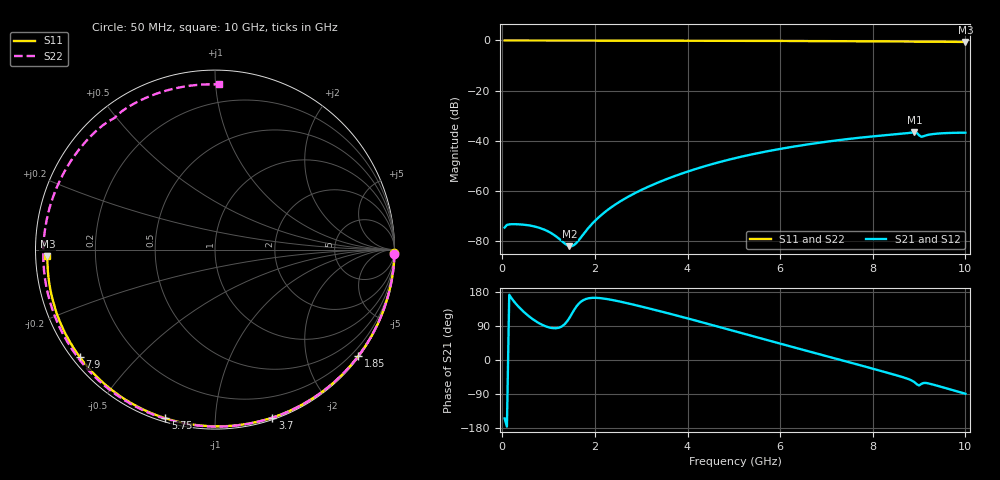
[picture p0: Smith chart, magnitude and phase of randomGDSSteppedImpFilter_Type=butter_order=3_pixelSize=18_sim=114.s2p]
! freq	dB(S11)	phase(S11)	dB(S12)	phase(S12)
!  dB(S21)	phase(S21)	dB(S22)	phase(S22)
!S-par simulation data
#  GHz  S  DB  R 50
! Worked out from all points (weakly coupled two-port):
!   200 points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, 50 MHz to 10 GHz, reference 50 ohm
!   highest |S21| = -36.62 dB at 8.9 GHz (marker M1); lowest = -82.0 dB at 1.45 GHz (marker M2)
!   lowest |S11| = -0.6 dB at 10 GHz (marker M3), VSWR 29.52, Z = 1.69 - j0.979 ohm
!   |S11| at or under -10 dB: nowhere
!   |S22| runs from -0.7 to 0.0 dB; largest |S21 - S12| = 0
!   S11 on the Smith chart (normalised r, x): 50 MHz: open; 1.85 GHz: 0.03, -3.02; 3.7 GHz: 0.02, -1.40; 5.75 GHz: 0.02, -0.75; 7.9 GHz: 0.02, -0.35; 10 GHz: 0.03, -0.02
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0.05  -0.00 -1.0  -74.58 -154.1  -74.58 -154.1  -0.00 -1.3
0.2  -0.00 -4.0  -73.24 162.8  -73.24 162.8  -0.00 -5.2
0.65  -0.01 -13.1  -73.96 108.4  -73.96 108.4  -0.02 -16.9
1  -0.02 -20.0  -76.21 86.3  -76.21 86.3  -0.03 -25.9
1.3  -0.03 -26.0  -80.18 89.7  -80.18 89.7  -0.04 -33.6
1.45  -0.04 -28.9  -81.99 111.2  -81.99 111.2  -0.05 -37.4
1.65  -0.04 -32.8  -79.62 148.5  -79.62 148.5  -0.05 -42.4
1.75  -0.04 -34.7  -77.23 158.0  -77.23 158.0  -0.06 -45.0
1.85  -0.05 -36.7  -74.93 162.5  -74.93 162.5  -0.06 -47.5
2.45  -0.06 -48.1  -65.27 156.5  -65.27 156.5  -0.08 -62.3
3.4  -0.09 -65.8  -56.35 128.9  -56.35 128.9  -0.11 -85.2
3.7  -0.10 -71.2  -54.21 119.5  -54.21 119.5  -0.13 -92.3
5.05  -0.15 -94.7  -46.81 74.9  -46.81 74.9  -0.19 -124.0
5.75  -0.18 -106.4  -44.07 51.4  -44.07 51.4  -0.24 -140.6
6.7  -0.24 -122.0  -41.15 20.2  -41.15 20.2  -0.32 -164.2
7.3  -0.28 -131.7  -39.65 0.5  -39.65 0.5  -0.38 179.9
7.9  -0.34 -141.5  -38.41 -19.5  -38.41 -19.5  -0.45 162.8
8.35  -0.38 -148.9  -37.65 -34.8  -37.65 -34.8  -0.51 148.9
8.9  -0.44 -158.2  -36.62 -58.5  -36.62 -58.5  -0.63 130.3
9.05  -0.46 -160.7  -38.40 -63.1  -38.40 -63.1  -0.66 125.7
9.55  -0.52 -169.5  -36.95 -73.3  -36.95 -73.3  -0.66 106.7
10  -0.59 -177.8  -36.77 -89.0  -36.77 -89.0  -0.72 88.7
